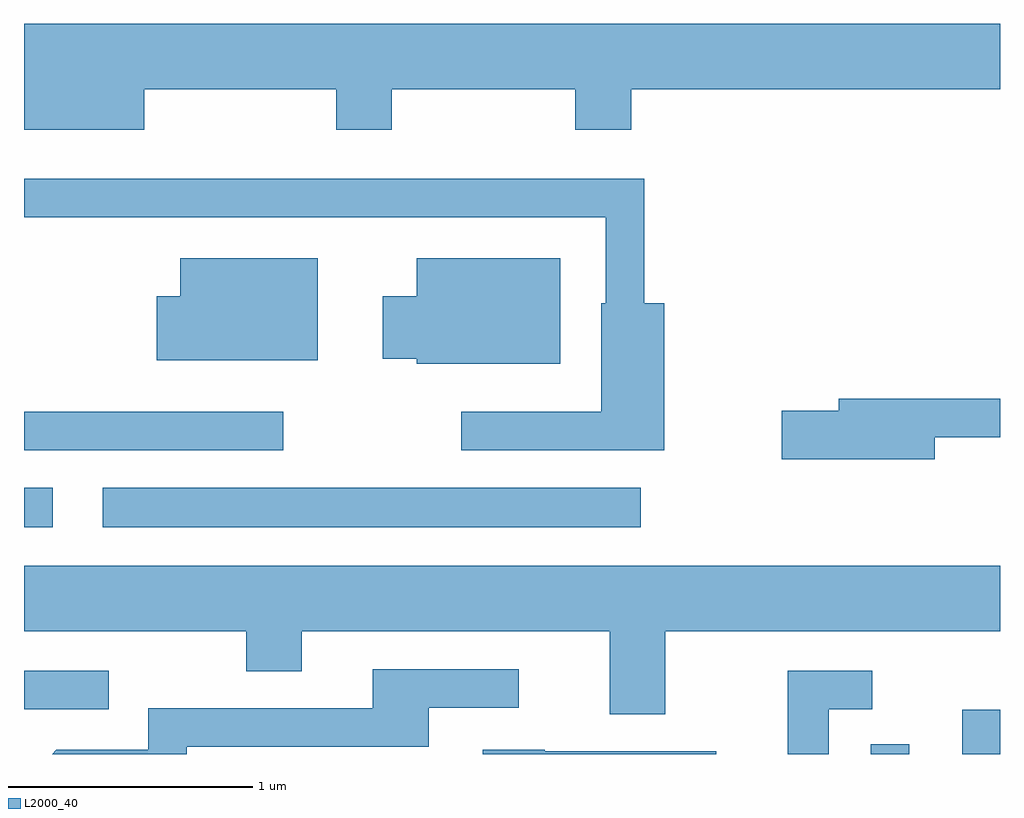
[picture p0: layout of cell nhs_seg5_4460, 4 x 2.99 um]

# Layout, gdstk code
import gdstk
lib = gdstk.Library(unit=1e-6, precision=1e-09)
def R(c, l, rs):  # rectangles x0, y0, x1, y1
    for r in rs: c.add(gdstk.rectangle(r[:2], r[2:], *l))
def P(c, l, *ps):  # polygons
    for p in ps: c.add(gdstk.Polygon(p, *l))
L2000_40 = (2000, 40)

nhs_seg5_4460 = lib.new_cell('nhs_seg5_4460')
R(nhs_seg5_4460, L2000_40, [(321.081,1454.072,321.239,1454.113), (321.456,1454.072,321.611,1454.254), (317.611,1454.256,317.958,1454.414), (317.611,1455.001,317.728,1455.164), (317.933,1455.001,320.138,1455.164), (317.611,1455.316,318.673,1455.474)])
P(nhs_seg5_4460, L2000_40, [(318.104,1456.796),(318.891,1456.796),(318.891,1456.631),(319.119,1456.631),(319.119,1456.796),(319.871,1456.796),(319.871,1456.631),(320.099,1456.631),(320.099,1456.796),(321.611,1456.796),(321.611,1457.064),(317.611,1457.064),(317.611,1456.631),(318.104,1456.631)],
  [(320.234,1455.919),(320.154,1455.919),(320.154,1456.429),(317.611,1456.429),(317.611,1456.271),(319.996,1456.271),(319.996,1455.919),(319.976,1455.919),(319.976,1455.474),(319.403,1455.474),(319.403,1455.316),(320.234,1455.316)],
  [(318.814,1456.104),(318.251,1456.104),(318.251,1455.949),(318.156,1455.949),(318.156,1455.686),(318.814,1455.686)],
  [(319.809,1456.104),(319.221,1456.104),(319.221,1455.949),(319.081,1455.949),(319.081,1455.691),(319.221,1455.691),(319.221,1455.671),(319.809,1455.671)],
  [(321.344,1455.371),(321.611,1455.371),(321.611,1455.529),(320.951,1455.529),(320.951,1455.479),(320.716,1455.479),(320.716,1455.281),(321.344,1455.281)],
  [(320.239,1454.576),(321.611,1454.576),(321.611,1454.844),(317.611,1454.844),(317.611,1454.576),(318.521,1454.576),(318.521,1454.411),(318.749,1454.411),(318.749,1454.576),(320.011,1454.576),(320.011,1454.236),(320.239,1454.236)],
  [(318.279,1454.101),(319.269,1454.101),(319.269,1454.261),(319.638,1454.261),(319.638,1454.419),(319.041,1454.419),(319.041,1454.259),(318.121,1454.259),(318.121,1454.089),(317.744,1454.089),(317.727,1454.072),(318.279,1454.072)],
  [(320.909,1454.256),(321.088,1454.256),(321.088,1454.414),(320.741,1454.414),(320.741,1454.072),(320.909,1454.072)],
  [(320.449,1454.084),(319.745,1454.084),(319.745,1454.089),(319.491,1454.089),(319.491,1454.072),(320.449,1454.072)])

lib.write_gds('nhs_seg5_4460.gds')
